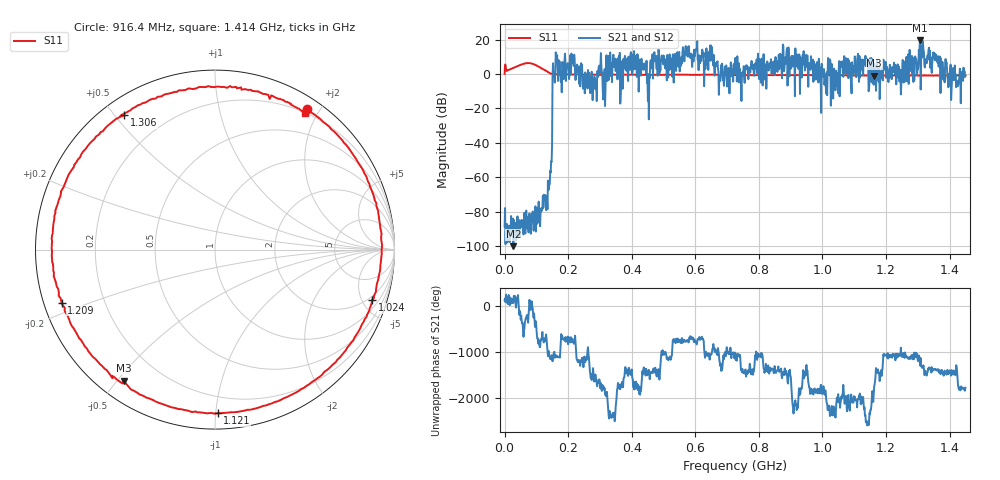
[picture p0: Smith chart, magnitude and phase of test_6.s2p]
! Created with skrf 1.11.0 (http://scikit-rf.org).
# Hz S RI R 50.0
!freq ReS11 ImS11 ReS21 ImS21 ReS12 ImS12 ReS22 ImS22
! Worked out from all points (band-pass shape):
!   1001 points, 50 kHz to 1.45 GHz, reference 50 ohm
!   highest |S21| = 19.53 dB at 1.308 GHz (marker M1); lowest = -100.0 dB at 27.6 MHz (marker M2)
!   |S21| within 3 dB of the highest: 1.306151 GHz to 1.308058 GHz (1.906 MHz wide, 0.146 % of centre); 1.314749 GHz to 1.317071 GHz (2.321 MHz wide, 0.176 % of centre) (the widest 2 of 6)
!   lowest |S11| = -1.0 dB at 1.163 GHz (marker M3), VSWR 17.37, Z = 3.66 - j26 ohm
!   |S11| at or under -10 dB: nowhere
!   |S22| runs from - to - dB; largest |S21 - S12| = 0
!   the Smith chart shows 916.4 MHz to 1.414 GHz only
!   S11 on the Smith chart (normalised r, x): 916.4 MHz: 0.15, +1.83; 1.024 GHz: 1.63, -5.93; 1.121 GHz: 0.09, -1.01; 1.209 GHz: 0.05, -0.17; 1.306 GHz: 0.06, +0.53; 1.414 GHz: 0.20, +1.84
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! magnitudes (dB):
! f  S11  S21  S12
! 50 kHz  0.2  -88.5  -88.5
! 27.6 MHz  3.6  -100.0  -100.0
! 134.9 MHz  1.4  -78.6  -78.6
! 142.1 MHz  0.6  -63.8  -63.8
! 158.1 MHz  -0.1  -4.9  -4.9
! 242.2 MHz  -0.2  0.3  0.3
! 282.8 MHz  -0.3  -1.5  -1.5
! 298.7 MHz  -0.6  4.8  4.8
! 411.8 MHz  -0.4  10.6  10.6
! 449.5 MHz  -0.5  -2.9  -2.9
! 484.3 MHz  -0.4  14.2  14.2
! 725 MHz  -0.5  0.3  0.3
! 916.4 MHz  -0.6  8.9  8.9
! 967.2 MHz  -0.6  7.5  7.5
! 1.024 GHz  -0.7  8.6  8.6
! 1.121 GHz  -0.8  3.3  3.3
! 1.163 GHz  -1.0  6.1  6.1
! 1.209 GHz  -0.9  1.8  1.8
! 1.306 GHz  -0.9  18.7  18.7
! 1.308 GHz  -0.8  19.5  19.5
! 1.414 GHz  -0.8  -1.7  -1.7
! 1.45 GHz  -0.8  -1.0  -1.0
